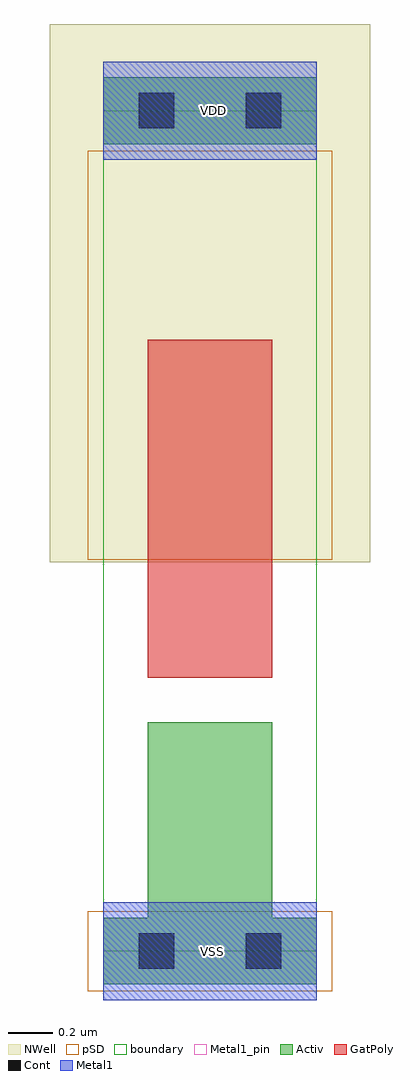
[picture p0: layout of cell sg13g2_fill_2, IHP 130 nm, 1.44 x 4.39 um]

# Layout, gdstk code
import gdstk
lib = gdstk.Library(unit=1e-6, precision=1e-09)
def R(c, l, rs):  # rectangles x0, y0, x1, y1
    for r in rs: c.add(gdstk.rectangle(r[:2], r[2:], *l))
Activ = (1, 0)
GatPoly = (5, 0)
Cont = (6, 0)
Metal1 = (8, 0)
Metal1_pin = (8, 2)
pSD = (14, 0)
NWell = (31, 0)
boundary = (189, 4)

sg13g2_fill_2 = lib.new_cell('sg13g2_fill_2')
R(sg13g2_fill_2, Activ, [(0,-0.15,0.96,0.15), (0.2,0.15,0.76,1.03), (0,3.63,0.96,3.93)])
R(sg13g2_fill_2, GatPoly, [(0.2,1.23,0.76,2.75)])
R(sg13g2_fill_2, Cont, [(0.16,-0.08,0.32,0.08), (0.16,-0.08,0.32,0.08), (0.64,-0.08,0.8,0.08), (0.64,-0.08,0.8,0.08), (0.16,3.7,0.32,3.86), (0.16,3.7,0.32,3.86), (0.64,3.7,0.8,3.86), (0.64,3.7,0.8,3.86)])
R(sg13g2_fill_2, Metal1, [(0,-0.22,0.96,0.22), (0,3.56,0.96,4)])
R(sg13g2_fill_2, Metal1_pin, [(0,-0.22,0.96,0.22), (0,3.56,0.96,4)])
R(sg13g2_fill_2, pSD, [(-0.07,-0.18,1.03,0.18), (-0.07,1.76,1.03,3.6)])
R(sg13g2_fill_2, NWell, [(-0.24,1.75,1.2,4.17)])
R(sg13g2_fill_2, boundary, [(0,0,0.96,3.78)])
sg13g2_fill_2.add(gdstk.Label('VSS', (0.49,0), layer=8, texttype=25))
sg13g2_fill_2.add(gdstk.Label('VDD', (0.495,3.78), layer=8, texttype=25))

lib.write_gds('sg13g2_fill_2.gds')
